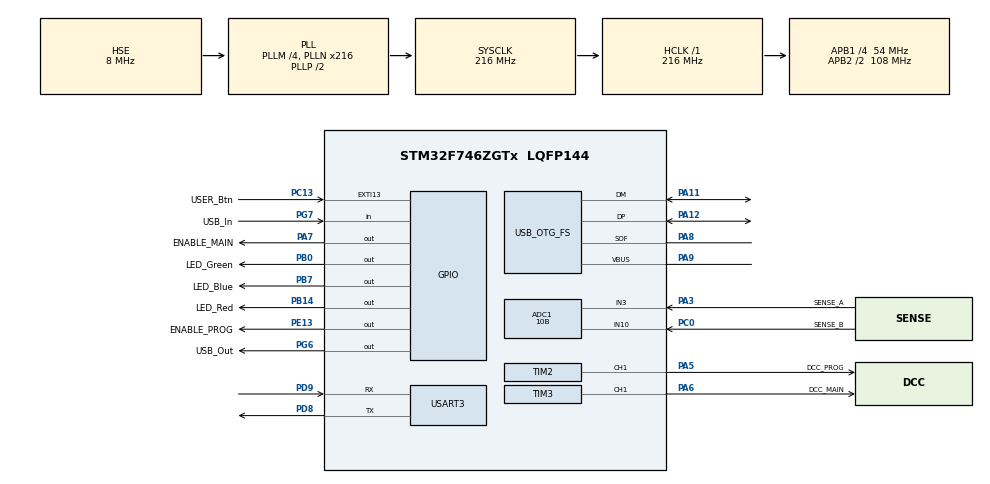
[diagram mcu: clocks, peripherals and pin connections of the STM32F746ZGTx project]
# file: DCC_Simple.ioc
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ADC1.Channel-0\#ChannelRegularConversion=ADC_CHANNEL_3
ADC1.Channel-1\#ChannelRegularConversion=ADC_CHANNEL_10
ADC1.ClockPrescaler=ADC_CLOCK_SYNC_PCLK_DIV8
ADC1.ContinuousConvMode=ENABLE
ADC1.DMAContinuousRequests=ENABLE
ADC1.EOCSelection=ADC_EOC_SEQ_CONV
ADC1.ExternalTrigConv=ADC_SOFTWARE_START
ADC1.ExternalTrigConvEdge=ADC_EXTERNALTRIGCONVEDGE_NONE
ADC1.NbrOfConversion=2
ADC1.NbrOfConversionFlag=1
ADC1.Rank-0\#ChannelRegularConversion=1
ADC1.Rank-1\#ChannelRegularConversion=2
ADC1.Resolution=ADC_RESOLUTION_10B
ADC1.SamplingTime-0\#ChannelRegularConversion=ADC_SAMPLETIME_56CYCLES
ADC1.SamplingTime-1\#ChannelRegularConversion=ADC_SAMPLETIME_56CYCLES
ADC1.master=1
CORTEX_M7.CPU_DCache=Disabled
CORTEX_M7.CPU_ICache=Disabled
Dma.ADC1.2.Direction=DMA_PERIPH_TO_MEMORY
Dma.ADC1.2.FIFOMode=DMA_FIFOMODE_DISABLE
Dma.ADC1.2.Instance=DMA2_Stream0
Dma.ADC1.2.MemDataAlignment=DMA_MDATAALIGN_HALFWORD
Dma.ADC1.2.MemInc=DMA_MINC_ENABLE
Dma.ADC1.2.Mode=DMA_CIRCULAR
Dma.ADC1.2.PeriphDataAlignment=DMA_PDATAALIGN_HALFWORD
Dma.ADC1.2.PeriphInc=DMA_PINC_DISABLE
Dma.ADC1.2.Priority=DMA_PRIORITY_LOW
Dma.Request0=USART3_RX
Dma.Request1=USART3_TX
Dma.Request2=ADC1
Dma.USART3_RX.0.Direction=DMA_PERIPH_TO_MEMORY
Dma.USART3_RX.0.FIFOMode=DMA_FIFOMODE_DISABLE
Dma.USART3_RX.0.Instance=DMA1_Stream1
Dma.USART3_RX.0.MemDataAlignment=DMA_MDATAALIGN_BYTE
Dma.USART3_RX.0.MemInc=DMA_MINC_ENABLE
Dma.USART3_RX.0.Mode=DMA_NORMAL
Dma.USART3_RX.0.PeriphDataAlignment=DMA_PDATAALIGN_BYTE
Dma.USART3_RX.0.PeriphInc=DMA_PINC_DISABLE
Dma.USART3_RX.0.Priority=DMA_PRIORITY_LOW
Dma.USART3_TX.1.Direction=DMA_MEMORY_TO_PERIPH
Dma.USART3_TX.1.FIFOMode=DMA_FIFOMODE_DISABLE
Dma.USART3_TX.1.Instance=DMA1_Stream3
Dma.USART3_TX.1.MemDataAlignment=DMA_MDATAALIGN_BYTE
Dma.USART3_TX.1.MemInc=DMA_MINC_ENABLE
Dma.USART3_TX.1.Mode=DMA_NORMAL
Dma.USART3_TX.1.PeriphDataAlignment=DMA_PDATAALIGN_BYTE
Dma.USART3_TX.1.PeriphInc=DMA_PINC_DISABLE
Dma.USART3_TX.1.Priority=DMA_PRIORITY_LOW
FREERTOS.INCLUDE_uxTaskGetStackHighWaterMark=1
FREERTOS.Queues01=dccMainPacketQueue,25,DCC_Packet *,0,Dynamic,NULL,NULL;commandQueue,72,char *,0,Dynamic,NULL,NULL;dccProgPacketQueue,3,DCC_Packet *,0,Dynamic,NULL,NULL;dccDiscardQueue,3,DCC_Packet *,0,Dynamic,NULL,NULL
FREERTOS.Tasks01=defaultTask,24,128,StartDefaultTask,Default,NULL,Dynamic,NULL,NULL;dccTask,40,128,StartDccTask,Default,NULL,Dynamic,NULL,NULL;commandTask,8,256,StartCommandTask,Default,NULL,Dynamic,NULL,NULL
FREERTOS.configCHECK_FOR_STACK_OVERFLOW=0
FREERTOS.configENABLE_BACKWARD_COMPATIBILITY=0
FREERTOS.configGENERATE_RUN_TIME_STATS=1
FREERTOS.configUSE_MALLOC_FAILED_HOOK=0
FREERTOS.configUSE_STATS_FORMATTING_FUNCTIONS=1
FREERTOS.configUSE_TRACE_FACILITY=1
Mcu.Family=STM32F7
Mcu.Name=STM32F746ZGTx
Mcu.Package=LQFP144
Mcu.UserConstants=DCC_ZERO_ARR,43200;DCC_ZERO_CCR,21600;DCC_ONE_ARR,25058;DCC_ONE_CCR,12529;DCC_QUEUE_LEN,20
NVIC.DMA1_Stream1_IRQn=true\:5\:0\:false\:false\:true\:true\:false\:true\:true
NVIC.DMA1_Stream3_IRQn=true\:5\:0\:false\:false\:true\:true\:false\:true\:true
NVIC.DMA2_Stream0_IRQn=true\:5\:0\:false\:false\:true\:true\:false\:true\:true
NVIC.EXTI15_10_IRQn=true\:10\:0\:true\:false\:true\:true\:true\:true\:true
NVIC.PriorityGroup=NVIC_PRIORITYGROUP_4
NVIC.TIM2_IRQn=true\:5\:0\:false\:false\:true\:true\:true\:true\:true
NVIC.TIM3_IRQn=true\:5\:0\:false\:false\:true\:true\:true\:true\:true
NVIC.TIM6_DAC_IRQn=true\:8\:0\:true\:false\:true\:true\:true\:true\:true
NVIC.TIM7_IRQn=true\:0\:0\:false\:false\:true\:false\:false\:true\:true
NVIC.TimeBase=TIM7_IRQn
NVIC.TimeBaseIP=TIM7
NVIC.USART3_IRQn=true\:10\:0\:true\:false\:true\:true\:true\:true\:true
PA1.GPIO_Mode=GPIO_MODE_AF_PP
PA1.GPIO_PuPd=GPIO_NOPULL
PA1.GPIO_Speed=GPIO_SPEED_FREQ_VERY_HIGH
PA1.Signal=ETH_REF_CLK
PA10.GPIO_Mode=GPIO_MODE_AF_PP
PA10.GPIO_PuPd=GPIO_NOPULL
PA10.GPIO_Speed=GPIO_SPEED_FREQ_VERY_HIGH
PA10.Signal=USB_OTG_FS_ID
PA11.GPIO_Mode=GPIO_MODE_AF_PP
PA11.GPIO_PuPd=GPIO_NOPULL
PA11.GPIO_Speed=GPIO_SPEED_FREQ_VERY_HIGH
PA11.Mode=Device_Only
PA11.Signal=USB_OTG_FS_DM
PA12.GPIO_Mode=GPIO_MODE_AF_PP
PA12.GPIO_PuPd=GPIO_NOPULL
PA12.GPIO_Speed=GPIO_SPEED_FREQ_VERY_HIGH
PA12.Mode=Device_Only
PA12.Signal=USB_OTG_FS_DP
PA13.Mode=Serial_Wire
PA13.Signal=SYS_JTMS-SWDIO
PA14.Mode=Serial_Wire
PA14.Signal=SYS_JTCK-SWCLK
PA2.GPIO_Mode=GPIO_MODE_AF_PP
PA2.GPIO_PuPd=GPIO_NOPULL
PA2.GPIO_Speed=GPIO_SPEED_FREQ_VERY_HIGH
PA2.Signal=ETH_MDIO
PA3.GPIO_Label=SENSE_A
PA3.Signal=ADCx_IN3
PA5.GPIO_Label=DCC_PROG
PA5.GPIO_Speed=GPIO_SPEED_FREQ_VERY_HIGH
PA5.Signal=S_TIM2_CH1_ETR
PA6.GPIO_Label=DCC_MAIN
PA6.GPIO_Speed=GPIO_SPEED_FREQ_VERY_HIGH
PA6.Signal=S_TIM3_CH1
PA7.GPIO_Label=ENABLE_MAIN
PA7.Signal=GPIO_Output
PA8.GPIO_Mode=GPIO_MODE_AF_PP
PA8.GPIO_PuPd=GPIO_NOPULL
PA8.GPIO_Speed=GPIO_SPEED_FREQ_VERY_HIGH
PA8.Mode=Activate_SOF_FS
PA8.Signal=USB_OTG_FS_SOF
PA9.GPIO_Mode=GPIO_MODE_INPUT
PA9.GPIO_PuPd=GPIO_NOPULL
PA9.Mode=Activate_VBUS
PA9.Signal=USB_OTG_FS_VBUS
PB0.GPIO_Label=LED_Green
PB0.GPIO_ModeDefaultOutputPP=GPIO_MODE_OUTPUT_PP
PB0.GPIO_PuPd=GPIO_NOPULL
PB0.GPIO_Speed=GPIO_SPEED_FREQ_LOW
PB0.PinState=GPIO_PIN_RESET
PB0.Signal=GPIO_Output
PB13.GPIO_Mode=GPIO_MODE_AF_PP
PB13.GPIO_PuPd=GPIO_NOPULL
PB13.GPIO_Speed=GPIO_SPEED_FREQ_VERY_HIGH
PB13.Signal=ETH_TXD1
PB14.GPIO_Label=LED_Red
PB14.GPIO_ModeDefaultOutputPP=GPIO_MODE_OUTPUT_PP
PB14.GPIO_PuPd=GPIO_NOPULL
PB14.GPIO_Speed=GPIO_SPEED_FREQ_LOW
PB14.PinState=GPIO_PIN_RESET
PB14.Signal=GPIO_Output
PB3.Signal=SYS_JTDO-SWO
PB7.GPIO_Label=LED_Blue
PB7.GPIO_ModeDefaultOutputPP=GPIO_MODE_OUTPUT_PP
PB7.GPIO_PuPd=GPIO_NOPULL
PB7.GPIO_Speed=GPIO_SPEED_FREQ_LOW
PB7.PinState=GPIO_PIN_RESET
PB7.Signal=GPIO_Output
PC0.GPIO_Label=SENSE_B
PC0.Signal=ADCx_IN10
PC1.GPIO_Mode=GPIO_MODE_AF_PP
PC1.GPIO_PuPd=GPIO_NOPULL
PC1.GPIO_Speed=GPIO_SPEED_FREQ_VERY_HIGH
PC1.Signal=ETH_MDC
PC13.GPIO_Label=USER_Btn
PC13.GPIO_ModeDefaultEXTI=GPIO_MODE_IT_FALLING
PC13.GPIO_PuPd=GPIO_NOPULL
PC13.Signal=GPXTI13
PC14/OSC32_IN.Mode=LSE-External-Oscillator
PC14/OSC32_IN.Signal=RCC_OSC32_IN
PC15/OSC32_OUT.Mode=LSE-External-Oscillator
PC15/OSC32_OUT.Signal=RCC_OSC32_OUT
PC4.GPIO_Mode=GPIO_MODE_AF_PP
PC4.GPIO_PuPd=GPIO_NOPULL
PC4.GPIO_Speed=GPIO_SPEED_FREQ_VERY_HIGH
PC4.Signal=ETH_RXD0
PC5.GPIO_Mode=GPIO_MODE_AF_PP
PC5.GPIO_PuPd=GPIO_NOPULL
PC5.GPIO_Speed=GPIO_SPEED_FREQ_VERY_HIGH
PC5.Signal=ETH_RXD1
PD8.GPIO_ModeDefaultPP=GPIO_MODE_AF_PP
PD8.GPIO_PuPd=GPIO_NOPULL
PD8.GPIO_Speed=GPIO_SPEED_FREQ_VERY_HIGH
PD8.Mode=Asynchronous
PD8.Signal=USART3_TX
PD9.GPIO_ModeDefaultPP=GPIO_MODE_AF_PP
PD9.GPIO_PuPd=GPIO_NOPULL
PD9.GPIO_Speed=GPIO_SPEED_FREQ_VERY_HIGH
PD9.Mode=Asynchronous
PD9.Signal=USART3_RX
PE13.GPIO_Label=ENABLE_PROG
PE13.Signal=GPIO_Output
PG11.GPIO_Mode=GPIO_MODE_AF_PP
PG11.GPIO_PuPd=GPIO_NOPULL
PG11.GPIO_Speed=GPIO_SPEED_FREQ_VERY_HIGH
PG11.Signal=ETH_TX_EN
PG13.GPIO_Mode=GPIO_MODE_AF_PP
PG13.GPIO_PuPd=GPIO_NOPULL
PG13.GPIO_Speed=GPIO_SPEED_FREQ_VERY_HIGH
PG13.Signal=ETH_TXD0
PG6.GPIO_Label=USB_Out
PG6.GPIO_ModeDefaultOutputPP=GPIO_MODE_OUTPUT_PP
PG6.GPIO_PuPd=GPIO_NOPULL
PG6.GPIO_Speed=GPIO_SPEED_FREQ_LOW
PG6.PinState=GPIO_PIN_RESET
PG6.Signal=GPIO_Output
PG7.GPIO_Label=USB_In
PG7.GPIO_Mode=GPIO_MODE_INPUT
PG7.GPIO_PuPd=GPIO_NOPULL
PG7.Signal=GPIO_Input
PH0/OSC_IN.Mode=HSE-External-Clock-Source
PH0/OSC_IN.Signal=RCC_OSC_IN
PH1/OSC_OUT.Mode=HSE-External-Clock-Source
PH1/OSC_OUT.Signal=RCC_OSC_OUT
ProjectManager.HeapSize=0x200
ProjectManager.StackSize=0x400
ProjectManager.TargetToolchain=STM32CubeIDE
RCC.48MHZClocksFreq_Value=24000000
RCC.AHBFreq_Value=216000000
RCC.APB1CLKDivider=RCC_HCLK_DIV4
RCC.APB1Freq_Value=54000000
RCC.APB1TimFreq_Value=216000000
RCC.APB2CLKDivider=RCC_HCLK_DIV2
RCC.APB2Freq_Value=108000000
RCC.APB2TimFreq_Value=216000000
RCC.CortexFreq_Value=216000000
RCC.HCLKFreq_Value=216000000
RCC.HSE_VALUE=8000000
RCC.HSI_VALUE=16000000
RCC.PLLM=4
RCC.PLLMUL=RCC_PLL_MUL9
RCC.PLLN=216
RCC.PLLQ=9
RCC.PRESCALERUSB=RCC_USBCLKSOURCE_PLL_DIV1_5
RCC.RCC_TIM_PRescaler_Selection=RCC_TIMPRES_ACTIVATED
RCC.SYSCLKFreq_VALUE=216000000
RCC.SYSCLKSource=RCC_SYSCLKSOURCE_PLLCLK
RCC.SYSCLKSourceVirtual=RCC_SYSCLKSOURCE_PLLCLK
RCC.USBFreq_Value=48000000
RCC.VCOOutputFreq_Value=432000000
SH.ADCx_IN10.0=ADC1_IN10,IN10
SH.ADCx_IN3.0=ADC1_IN3,IN3
SH.S_TIM2_CH1_ETR.0=TIM2_CH1,PWM Generation1 CH1
SH.S_TIM3_CH1.0=TIM3_CH1,PWM Generation1 CH1
TIM2.AutoReloadPreload=TIM_AUTORELOAD_PRELOAD_ENABLE
TIM2.Channel-PWM\ Generation1\ CH1=TIM_CHANNEL_1
TIM2.Period=DCC_ONE_ARR
TIM2.Pulse-PWM\ Generation1\ CH1=DCC_ONE_CCR
TIM2.TIM_MasterOutputTrigger=TIM_TRGO_OC1
TIM3.AutoReloadPreload=TIM_AUTORELOAD_PRELOAD_ENABLE
TIM3.Channel-PWM\ Generation1\ CH1=TIM_CHANNEL_1
TIM3.Period=DCC_ONE_ARR
TIM3.Pulse-PWM\ Generation1\ CH1=DCC_ONE_CCR
TIM3.TIM_MasterOutputTrigger=TIM_TRGO_OC1
TIM6.AutoReloadPreload=TIM_AUTORELOAD_PRELOAD_ENABLE
TIM6.Period=65535
TIM6.Prescaler=164
USART3.VirtualMode-Asynchronous=VM_ASYNC
USB_OTG_FS.VirtualMode=Device_Only
VP_ADC1_TempSens_Input.Mode=IN-TempSens
VP_FREERTOS_VS_CMSIS_V2.Mode=CMSIS_V2
VP_RNG_VS_RNG.Mode=RNG_Activate
VP_SYS_VS_tim7.Mode=TIM7
VP_TIM2_VS_ClockSourceINT.Mode=Internal
VP_TIM3_VS_ClockSourceINT.Mode=Internal
VP_TIM6_VS_ClockSourceINT.Mode=Enable_Timer
board=NUCLEO-F746ZG

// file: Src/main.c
/* USER CODE BEGIN Header */
/**
  ******************************************************************************
  * @file           : main.c
  * @brief          : Main program body
  ******************************************************************************
  * @attention
  *
  * <h2><center>&copy; Copyright (c) 2020 STMicroelectronics.
  * All rights reserved.</center></h2>
  *
  * This software component is licensed by ST under BSD 3-Clause license,
  * the "License"; You may not use this file except in compliance with the
  * License. You may obtain a copy of the License at:
  *                        opensource.org/licenses/BSD-3-Clause
  *
  ******************************************************************************
  */
/* USER CODE END Header */

#include "main.h"
#include "cmsis_os.h"
#include "adc.h"
#include "dma.h"
#include "rng.h"
#include "tim.h"
#include "usart.h"
#include "usb_otg.h"
#include "gpio.h"

/* USER CODE BEGIN Includes */
#include <stdio.h>
#include "dcc.h"
/* USER CODE END Includes */

/* USER CODE BEGIN PV */
extern volatile uint32_t nfirst;
extern volatile uint8_t button_debounce;
extern volatile uint8_t dcc_task_started;
extern DCC_Packet_Pump main_pump;
extern DCC_Packet_Pump prog_pump;
/* USER CODE END PV */

void SystemClock_Config(void);
void MX_FREERTOS_Init(void);

/* USER CODE BEGIN 0 */

#if 0
#ifdef __GNUC__
/* With GCC/RAISONANCE, small printf (option LD Linker->Libraries->Small printf
 set to 'Yes') calls __io_putchar() */
#define PUTCHAR_PROTOTYPE int __io_putchar(int ch)
#else
#define PUTCHAR_PROTOTYPE int fputc(int ch, FILE *f)
#endif /* __GNUC__ */
#endif

/* USER CODE END 0 */

int main(void)
{

  /* MCU Configuration--------------------------------------------------------*/

  /* Reset of all peripherals, Initializes the Flash interface and the Systick. */
  HAL_Init();

  /* Configure the system clock */
  SystemClock_Config();

  /* Initialize all configured peripherals */
  MX_GPIO_Init();
  MX_DMA_Init();
  MX_USART3_UART_Init();
  MX_USB_OTG_FS_PCD_Init();
  MX_RNG_Init();
  MX_TIM6_Init();
  MX_ADC1_Init();
  MX_TIM2_Init();
  MX_TIM3_Init();
  /* USER CODE BEGIN 2 */
  // Disable output
  HAL_GPIO_WritePin(ENABLE_MAIN_GPIO_Port, ENABLE_MAIN_Pin, GPIO_PIN_RESET);
  HAL_GPIO_WritePin(ENABLE_PROG_GPIO_Port, ENABLE_PROG_Pin, GPIO_PIN_RESET);
  /* USER CODE END 2 */

  /* Init scheduler */
  osKernelInitialize();  /* Call init function for freertos objects (in freertos.c) */
  MX_FREERTOS_Init();
  /* Start scheduler */
  osKernelStart();

  /* We should never get here as control is now taken by the scheduler */
  /* Infinite loop */
  /* USER CODE BEGIN WHILE */
  while (1)
  {}
    /* USER CODE END WHILE */

}

void SystemClock_Config(void)
{
  RCC_OscInitTypeDef RCC_OscInitStruct = {0};
  RCC_ClkInitTypeDef RCC_ClkInitStruct = {0};
  RCC_PeriphCLKInitTypeDef PeriphClkInitStruct = {0};

  /** Configure LSE Drive Capability
  */
  HAL_PWR_EnableBkUpAccess();
  /** Configure the main internal regulator output voltage
  */
  __HAL_RCC_PWR_CLK_ENABLE();
  __HAL_PWR_VOLTAGESCALING_CONFIG(PWR_REGULATOR_VOLTAGE_SCALE1);
  /** Initializes the CPU, AHB and APB busses clocks
  */
  RCC_OscInitStruct.OscillatorType = RCC_OSCILLATORTYPE_HSE;
  RCC_OscInitStruct.HSEState = RCC_HSE_BYPASS;
  RCC_OscInitStruct.PLL.PLLState = RCC_PLL_ON;
  RCC_OscInitStruct.PLL.PLLSource = RCC_PLLSOURCE_HSE;
  RCC_OscInitStruct.PLL.PLLM = 4;
  RCC_OscInitStruct.PLL.PLLN = 216;
  RCC_OscInitStruct.PLL.PLLP = RCC_PLLP_DIV2;
  RCC_OscInitStruct.PLL.PLLQ = 9;
  if (HAL_RCC_OscConfig(&RCC_OscInitStruct) != HAL_OK)
  {
    Error_Handler();
  }
  /** Activate the Over-Drive mode
  */
  if (HAL_PWREx_EnableOverDrive() != HAL_OK)
  {
    Error_Handler();
  }
  /** Initializes the CPU, AHB and APB busses clocks
  */
  RCC_ClkInitStruct.ClockType = RCC_CLOCKTYPE_HCLK|RCC_CLOCKTYPE_SYSCLK
                              |RCC_CLOCKTYPE_PCLK1|RCC_CLOCKTYPE_PCLK2;
  RCC_ClkInitStruct.SYSCLKSource = RCC_SYSCLKSOURCE_PLLCLK;
  RCC_ClkInitStruct.AHBCLKDivider = RCC_SYSCLK_DIV1;
  RCC_ClkInitStruct.APB1CLKDivider = RCC_HCLK_DIV4;
  RCC_ClkInitStruct.APB2CLKDivider = RCC_HCLK_DIV2;

  if (HAL_RCC_ClockConfig(&RCC_ClkInitStruct, FLASH_LATENCY_7) != HAL_OK)
  {
    Error_Handler();
  }
  PeriphClkInitStruct.PeriphClockSelection = RCC_PERIPHCLK_TIM|RCC_PERIPHCLK_USART3
                              |RCC_PERIPHCLK_CLK48;
  PeriphClkInitStruct.Usart3ClockSelection = RCC_USART3CLKSOURCE_PCLK1;
  PeriphClkInitStruct.Clk48ClockSelection = RCC_CLK48SOURCE_PLL;
  PeriphClkInitStruct.TIMPresSelection = RCC_TIMPRES_ACTIVATED;

  if (HAL_RCCEx_PeriphCLKConfig(&PeriphClkInitStruct) != HAL_OK)
  {
    Error_Handler();
  }
}

/* USER CODE BEGIN 4 */
void vAssertCalled( uint32_t ulLine, const char *pcFile )
{
volatile unsigned long ul = 0;

        ( void ) pcFile;
        ( void ) ulLine;

        taskENTER_CRITICAL();
        {
                /* Set ul to a non-zero value using the debugger to step out of this
                function. */
                while( ul == 0 )
                {
                        __NOP();
                }
        }
        taskEXIT_CRITICAL();
}
/* USER CODE END 4 */

 /**
  * @brief  Period elapsed callback in non blocking mode
  * @note   This function is called  when TIM7 interrupt took place, inside
  * HAL_TIM_IRQHandler(). It makes a direct call to HAL_IncTick() to increment
  * a global variable "uwTick" used as application time base.
  * @param  htim : TIM handle
  * @retval None
  */
void HAL_TIM_PeriodElapsedCallback(TIM_HandleTypeDef *htim)
{
  if (htim->Instance == TIM7) {
    HAL_IncTick();
  }
  /* USER CODE BEGIN Callback 1 */
  else if(htim->Instance == TIM6)
  {
	  if(HAL_GPIO_ReadPin(USER_Btn_GPIO_Port, USER_Btn_Pin) == GPIO_PIN_RESET)
	  {
		  HAL_TIM_Base_Stop_IT(&htim6);
		  HAL_GPIO_WritePin(LED_Red_GPIO_Port, LED_Red_Pin, GPIO_PIN_RESET);
		  button_debounce = 1;
		  nfirst = 1050;
	  }
  }

/*
  char bit = '0';
  char nl[] = "0\n\n";
  uint32_t arr;
  if ((htim->Instance == DCC_TIMER_MAIN_INSTANCE) && (nfirst >0) && dcc_task_started) {
	  arr = DCC_TIMER_MAIN_INSTANCE->ARR;
	  nfirst--;
	  if(DCC_ZERO_ARR == arr) {
		  bit = '0';
	  }
	  else if(DCC_ONE_ARR == arr) {
		  bit = '1';
	  }
	  else {
		  bit = '*';
	  }
	  switch(main_pump.status)
	  {
	  case DCC_PACKET_PREAMBLE:
		  if(main_pump.bit == 0) {
			  nl[0] = '-';
			  nl[1] = bit;
			  nl[2] = '\n';
			  HAL_UART_Transmit_DMA(&huart3, nl, 3);
		  }
		  else {
			  HAL_UART_Transmit_DMA(&huart3, &bit, 1);
		  }
		  break;
	  case DCC_PACKET_ADDRESS:
	  case DCC_PACKET_ADDRESS_LOW:
	  case DCC_PACKET_DATA:
	  case DCC_PACKET_CRC:
		  if(main_pump.bit == 0) {
			  nl[0] = '-';
			  nl[1] = bit;
			  nl[2] = '-';
			  HAL_UART_Transmit_DMA(&huart3, nl, 3);
		  }
		  else{
			  HAL_UART_Transmit_DMA(&huart3, &bit, 1);
		  }
		  break;
	  default:
		  HAL_UART_Transmit_DMA(&huart3, &bit, 1);
		  break;
	  }
  }
*/
  /* USER CODE END Callback 1 */
}

void Error_Handler(void)
{
}

#ifdef  USE_FULL_ASSERT
/**
  * @brief  Reports the name of the source file and the source line number
  *         where the assert_param error has occurred.
  * @param  file: pointer to the source file name
  * @param  line: assert_param error line source number
  * @retval None
  */
void assert_failed(uint8_t *file, uint32_t line)
{
  /* USER CODE BEGIN 6 */
  /* User can add his own implementation to report the file name and line number,
     tex: printf("Wrong parameters value: file %s on line %d\r\n", file, line) */
	//osMutexWait(dccFailMutexHandle, osWaitForever);
	 //printf("Wrong parameters value: file %s on line %lu\r\n", file, line);
	 //for(;;) {
		 //HAL_GPIO_TogglePin(LED_Red_GPIO_Port, LED_Red_Pin);
		 //osDelay(250);
	 //}
  /* USER CODE END 6 */
}
#endif /* USE_FULL_ASSERT */

/************************ (C) COPYRIGHT STMicroelectronics *****END OF FILE****/

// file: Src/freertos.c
/* USER CODE BEGIN Header */
/**
 ******************************************************************************
 * File Name          : freertos.c
 * Description        : Code for freertos applications
 ******************************************************************************
 * @attention
 *
 * <h2><center>&copy; Copyright (c) 2020 STMicroelectronics.
 * All rights reserved.</center></h2>
 *
 * This software component is licensed by ST under Ultimate Liberty license
 * SLA0044, the "License"; You may not use this file except in compliance with
 * the License. You may obtain a copy of the License at:
 *                             www.st.com/SLA0044
 *
 ******************************************************************************
 */
/* USER CODE END Header */

#include "FreeRTOS.h"
#include "task.h"
#include "main.h"
#include "cmsis_os.h"

/* USER CODE BEGIN Includes */
#include "adc.h"
#include "tim.h"
#include "usart.h"
#include "dcc.h"
#include "string.h"
#include "printf-stdarg.h"
#include "FreeRTOS_CLI.h"
#include "cli.h"
/* USER CODE END Includes */

/* USER CODE BEGIN PM */
#if MOTOR_SHIELD_TYPE == MOTOR_SHIELD_TYPE_IHM041
#define SETUP_TIMER(track) \
		HAL_TIM_PWM_Start(&DCC_TIMER_##track , DCC_TIMER_ ##track## _CHANNEL_L);  /* PWM on Channel L */ \
		HAL_TIM_PWM_Start(&DCC_TIMER_ ##track , DCC_TIMER_ ##track## _CHANNEL_K); /* PWM on Channel K */ \
	    DCC_TIMER_ ##track## _INSTANCE->CR1 &= ~TIM_CR1_CEN; /* Stop Counter */ \
	    DCC_TIMER_ ##track## _INSTANCE->ARR = DCC_ZERO_ARR; /* Preload values */ \
	    DCC_TIMER_ ##track## _CCR_K = DCC_ZERO_CCR; \
	    DCC_TIMER_ ##track## _CCR_L = DCC_ZERO_CCR; \
	    DCC_TIMER_ ##track## _INSTANCE->EGR &= TIM_EGR_UG; /* Trigger update (preload loaded) */ \
	    DCC_TIMER_ ##track## _INSTANCE->EGR &= TIM_EGR_UG; \
	    DCC_TIMER_ ##track## _INSTANCE->SR = 0ul; /* Clear all Interrupts */ \
	    DCC_TIMER_ ##track## _INSTANCE->DIER = TIM_DIER_CC1IE; /* Enable conmutation Interrupt ONLY */ \
	    DCC_TIMER_ ##track## _INSTANCE->CR1 |= TIM_CR1_CEN; /* Enable timer */
#elif MOTOR_SHIELD_TYPE == MOTOR_SHIELD_TYPE_ARDUINO_V3
#define SETUP_TIMER(track) \
		HAL_TIM_PWM_Start(&DCC_TIMER_ ##track , DCC_TIMER_ ##track## _CHANNEL_K); /* PWM on Channel K */ \
	    DCC_TIMER_ ##track## _INSTANCE->CR1 &= ~TIM_CR1_CEN; /* Stop Counter */ \
	    DCC_TIMER_ ##track## _INSTANCE->ARR = DCC_ZERO_ARR; /* Preload values */ \
	    DCC_TIMER_ ##track## _CCR_K = DCC_ZERO_CCR; \
	    DCC_TIMER_ ##track## _INSTANCE->EGR &= TIM_EGR_UG; /* Trigger update (preload loaded) */ \
	    DCC_TIMER_ ##track## _INSTANCE->EGR &= TIM_EGR_UG; \
	    DCC_TIMER_ ##track## _INSTANCE->SR = 0ul; /* Clear all Interrupts */ \
	    DCC_TIMER_ ##track## _INSTANCE->DIER = TIM_DIER_CC1IE; /* Enable conmutation Interrupt ONLY */ \
	    DCC_TIMER_ ##track## _INSTANCE->CR1 |= TIM_CR1_CEN; /* Enable timer */
#endif
/* USER CODE END PM */

/* USER CODE BEGIN Variables */
volatile uint32_t nfirst = 1050;
volatile uint8_t button_debounce = 1;
volatile uint8_t dcc_task_started = 0;
DCC_Packet_Pump main_pump;
DCC_Packet_Pump prog_pump;

//volatile uint32_t tim1_last_cnt;
//volatile uint32_t tim1_last_arr;

/* USER CODE END Variables */
/* Definitions for defaultTask */
osThreadId_t defaultTaskHandle;
const osThreadAttr_t defaultTask_attributes = {
  .name = "defaultTask",
  .priority = (osPriority_t) osPriorityNormal,
  .stack_size = 128 * 4
};
/* Definitions for dccTask */
osThreadId_t dccTaskHandle;
const osThreadAttr_t dccTask_attributes = {
  .name = "dccTask",
  .priority = (osPriority_t) osPriorityHigh,
  .stack_size = 128 * 4
};
/* Definitions for commandTask */
osThreadId_t commandTaskHandle;
const osThreadAttr_t commandTask_attributes = {
  .name = "commandTask",
  .priority = (osPriority_t) osPriorityLow,
  .stack_size = 256 * 4
};
/* Definitions for dccMainPacketQueue */
osMessageQueueId_t dccMainPacketQueueHandle;
const osMessageQueueAttr_t dccMainPacketQueue_attributes = {
  .name = "dccMainPacketQueue"
};
/* Definitions for commandQueue */
osMessageQueueId_t commandQueueHandle;
const osMessageQueueAttr_t commandQueue_attributes = {
  .name = "commandQueue"
};
/* Definitions for dccProgPacketQueue */
osMessageQueueId_t dccProgPacketQueueHandle;
const osMessageQueueAttr_t dccProgPacketQueue_attributes = {
  .name = "dccProgPacketQueue"
};
/* Definitions for dccDiscardQueue */
osMessageQueueId_t dccDiscardQueueHandle;
const osMessageQueueAttr_t dccDiscardQueue_attributes = {
  .name = "dccDiscardQueue"
};

/* USER CODE BEGIN FunctionPrototypes */
void vEnableUART(UART_HandleTypeDef *huart);
void vUpdateADCValue();
/* USER CODE END FunctionPrototypes */

void StartDefaultTask(void *argument);
void StartDccTask(void *argument);
void StartCommandTask(void *argument);

void MX_FREERTOS_Init(void); /* (MISRA C 2004 rule 8.1) */

/* Hook prototypes */
void configureTimerForRunTimeStats(void);
unsigned long getRunTimeCounterValue(void);

/* USER CODE BEGIN 1 */
/* Functions needed when configGENERATE_RUN_TIME_STATS is on */
__weak void configureTimerForRunTimeStats(void) {

}

__weak unsigned long getRunTimeCounterValue(void) {
	return 0;
}
/* USER CODE END 1 */

void MX_FREERTOS_Init(void) {

  /* Create the queue(s) */
  /* creation of dccMainPacketQueue */
  dccMainPacketQueueHandle = osMessageQueueNew (25, sizeof(DCC_Packet *), &dccMainPacketQueue_attributes);

  /* creation of commandQueue */
  commandQueueHandle = osMessageQueueNew (72, sizeof(char *), &commandQueue_attributes);

  /* creation of dccProgPacketQueue */
  dccProgPacketQueueHandle = osMessageQueueNew (3, sizeof(DCC_Packet *), &dccProgPacketQueue_attributes);

  /* creation of dccDiscardQueue */
  dccDiscardQueueHandle = osMessageQueueNew (3, sizeof(DCC_Packet *), &dccDiscardQueue_attributes);

  /* Create the thread(s) */
  /* creation of defaultTask */
  defaultTaskHandle = osThreadNew(StartDefaultTask, NULL, &defaultTask_attributes);

  /* creation of dccTask */
  dccTaskHandle = osThreadNew(StartDccTask, NULL, &dccTask_attributes);

  /* creation of commandTask */
  commandTaskHandle = osThreadNew(StartCommandTask, NULL, &commandTask_attributes);

}

void StartDefaultTask(void *argument)
{
  /* USER CODE BEGIN StartDefaultTask */
	// char  pcWriteBuffer[128];
	// DCC_Packet *current;
	// DCC_Packet Idle = DCC_PACKET_IDLE;
	// DCC_Packet Loco_3 = {1, -1, 0x03, {0x00, 0x00, 0x00, 0x00, 0x00}, 0x00};
	// DCC_Packet_set_speed(&Loco_3, 55, 1);
	// osMessageQueuePut(dccPAcketQueueHandle, &Idle, 0U, osWaitForever);
	// osMessageQueuePut(dccPAcketQueueHandle, &Loco_3, 0U, osWaitForever);
	//printf("Starting Default Task.\n");

	/* Infinite loop */
	for (;;) {
		osDelay(1000);
		HAL_GPIO_WritePin(LED_Red_GPIO_Port, LED_Red_Pin, GPIO_PIN_RESET);
		//		vTaskList(pcWriteBuffer);
		//		printf("\n=============== TASK LIST ==============="
		//				"\nName ========== Stat == Prio == Stk = N ="
		//				"\n%s"
		//				"\n=========================================\n",
		//				pcWriteBuffer);
		// Get the last timer counter and print.
	}
  /* USER CODE END StartDefaultTask */
}

void StartDccTask(void *argument)
{
  /* USER CODE BEGIN StartDccTask */
	osStatus status;
	uint32_t flags;
	DCC_Packet *discardPacket;
	DCC_Packet_Pump_init(&main_pump, dccMainPacketQueueHandle, dccDiscardQueueHandle);
	DCC_Packet_Pump_init(&prog_pump, dccProgPacketQueueHandle, dccDiscardQueueHandle);

	// Disable timer on debug
	__HAL_DBGMCU_FREEZE_TIM2();
	__HAL_DBGMCU_FREEZE_TIM3();
	__HAL_DBGMCU_FREEZE_TIM6();
	__HAL_DBGMCU_FREEZE_TIM7();

	// Setup Timers
	SETUP_TIMER(MAIN);
	SETUP_TIMER(PROG);
	HAL_StatusTypeDef hal_stat = HAL_TIMEOUT;
	while(hal_stat != HAL_OK){
		osDelay(250);
		hal_stat = HAL_ADC_Start_DMA(&hadc1,(uint32_t *) ADC_Data, ADC_DATA_LEN*ADC_DATA_ROWS);
	}
	osDelay(200);
	/* Infinite loop */
	for (;;) {
		status = osMessageQueueGet(dccDiscardQueueHandle, &discardPacket, 0L, 0L);
		if(status == osOK)
			vPortFree(discardPacket);
		flags = osThreadFlagsWait(DCC_FLAGS, osFlagsWaitAny, 250L);
		switch(flags) {
		case DCC_FLAG_ADC_DATA:
			vUpdateADCValue();
			break;
		case DCC_FLAG_ADC_ERROR:
			HAL_GPIO_WritePin(LED_Red_GPIO_Port, LED_Red_Pin, GPIO_PIN_SET);
			do {
				osDelay(250);
				hal_stat = HAL_ADC_Stop_DMA(&hadc1);
			} while(hal_stat != HAL_OK);
			memset((void *) ADC_Data, 0, sizeof(ADC_Record) * ADC_DATA_ROWS);
			do {
				osDelay(250);
				hal_stat = HAL_ADC_Start_DMA(&hadc1,(uint32_t *) ADC_Data, ADC_DATA_LEN*ADC_DATA_ROWS);
			} while(hal_stat != HAL_OK);
			HAL_GPIO_WritePin(LED_Red_GPIO_Port, LED_Red_Pin, GPIO_PIN_RESET);
			break;
		default:
			break;
		}
		HAL_GPIO_TogglePin(LED_Green_GPIO_Port, LED_Green_Pin);
	}
  /* USER CODE END StartDccTask */
}

void StartCommandTask(void *argument)
{
  /* USER CODE BEGIN StartCommandTask */
	static unsigned char cInputString[ configCOMMAND_INT_MAX_OUTPUT_SIZE ], cOutputString[ configCOMMAND_INT_MAX_OUTPUT_SIZE ];
	BaseType_t xMoreDataToFollow;
	uint32_t flags;
	vRegisterCLICommands();
	vEnableUART(&huart3);
	// Save DCC++ Station Name, Motor and Version for Later (see command <s>)
	snprintf(DCCPP_STATION, DCCPP_STATION_MAX_LEN, "<iDCC++ BASE STATION FOR STM32F7 / %s: V-1.2.1+ / %s %s>",
			MOTOR_SHIELD_NAME, __TIME__, __DATE__);
	snprintf((char *) cOutputString, configCOMMAND_INT_MAX_OUTPUT_SIZE,
			"%s\r\n", DCCPP_STATION);
	HAL_UART_Transmit_DMA(&huart3, cOutputString,
			strnlen((char *)cOutputString, configCOMMAND_INT_MAX_OUTPUT_SIZE));

	dcc_task_started = 1u;
	osDelay(200);
	for(;;) {
		/* Pass the string to FreeRTOS+CLI. */
		flags = osThreadFlagsWait(COMMAND_FLAGS, osFlagsWaitAny, 1000);
		if(flags & osFlagsError) {
			if(flags == osFlagsErrorTimeout) {
				continue;
			}
			else {
				HAL_GPIO_WritePin(LED_Red_GPIO_Port, LED_Red_Pin, GPIO_PIN_SET);
				//TODO: Error from CLI
				osDelay(100);
				continue;
			}
		}
		switch(flags) {
		case COMMAND_FLAG_TRANSMIT_OK:
			HAL_GPIO_TogglePin(LED_Blue_GPIO_Port, LED_Blue_Pin);
			memset(cInputString, 0, configCOMMAND_INT_MAX_OUTPUT_SIZE);
			HAL_UART_Receive_DMA(&huart3, cInputString, configCOMMAND_INT_MAX_OUTPUT_SIZE);
			break;
		case COMMAND_FLAG_RECEIVE_OK:
			//HAL_GPIO_TogglePin(LED_Red_GPIO_Port, LED_Red_Pin);
			xMoreDataToFollow = pdTRUE;
			while(xMoreDataToFollow) {
				// Replace the final '>' by an ' ' as we do not care...
				//for(int i=0; (i<configCOMMAND_INT_MAX_OUTPUT_SIZE) && (cInputString[i] != '\0'); i++){
				//	cInputString[i] = (cInputString[i] == 0x3E) ? 0x0D :  cInputString[i];
				//}
				xMoreDataToFollow = FreeRTOS_CLIProcessCommand((char *) cInputString, (char *) cOutputString,
						configCOMMAND_INT_MAX_OUTPUT_SIZE );
				size_t out_len = strnlen((char *) cOutputString,
						configCOMMAND_INT_MAX_OUTPUT_SIZE);
				if(out_len > 0)
				{
					HAL_UART_Transmit_DMA(&huart3, cOutputString, out_len);
					// Wait for transmission complete
					while(!(huart3.Instance->ISR &= USART_ISR_TC)){
						osDelay(10);
					}
				}
				else {
					// Tell MySelf transmit is OK
					osThreadFlagsSet(commandTaskHandle, COMMAND_FLAG_TRANSMIT_OK);
				}
			}
			break;
		case COMMAND_FLAG_ERROR:
			osThreadExit();
			break;
		}
	}
  /* USER CODE END StartCommandTask */
}

/* USER CODE BEGIN Application */
void vUpdateADCValue()
{
	ADC_Value = (ADC_Record) {0u, 0u, 0u};
	for(int i=0; i<ADC_DATA_ROWS; i++)
	{
		ADC_Value.temp += ADC_Data[i].temp;
		ADC_Value.senseA += ADC_Data[i].senseB;
		ADC_Value.senseB += ADC_Data[i].senseB;
	}
	ADC_Value.temp /= ADC_DATA_ROWS;
	ADC_Value.senseA /= ADC_DATA_ROWS;
	ADC_Value.senseB /= ADC_DATA_ROWS;
}

void vEnableUART(UART_HandleTypeDef *huart)
{
	if(huart->Instance == USART3) {
		  int32_t state = osKernelLock();
		  // Disable USART.
		  huart->Instance->CR1 &= ~USART_CR1_UE;
		  // huart->Instance->CR1 &= ~USART_CR1_TE;
		  // huart->Instance->CR1 &= ~USART_CR1_RE;
		  // Set end-of-line detection
		  huart->Instance->CR2 |= (USART_CR2_ADD & (COMMAND_END_OF_LINE << USART_CR2_ADD_Pos)) | USART_CR2_ADDM7;
		  // Clear All IF Flags
		  huart->Instance->ICR |= USART_ICR_CLEAR_ALL;
		  // Enable CMF Interrupt
		  huart->Instance->CR1 |= USART_CR1_CMIE;
		  // Reenable USART
		  huart->Instance->CR1 |= USART_CR1_UE;
		  osKernelRestoreLock(state);
	}
}

void HAL_TIM_PWM_PulseFinishedCallback(TIM_HandleTypeDef *htim) {

	if (htim->Instance == DCC_TIMER_MAIN_INSTANCE) {
		if (htim->Channel == DCC_TIMER_MAIN_ACTIVE_CHANNEL_K) {
			if (DCC_Packet_Pump_next(&main_pump) == DCC_ZERO) {
				DCC_TIMER_MAIN_INSTANCE->ARR  = DCC_ZERO_ARR;
				DCC_TIMER_MAIN_CCR_K = DCC_ZERO_CCR;
#ifdef DCC_TIMER_MAIN_CCR_L
				DCC_TIMER_MAIN_CCR_L = DCC_ZERO_CCR;
#endif
			} else {
				DCC_TIMER_MAIN_INSTANCE->ARR  = DCC_ONE_ARR;
				DCC_TIMER_MAIN_CCR_K = DCC_ONE_CCR;

#ifdef DCC_TIMER_MAIN_CCR_L
				DCC_TIMER_MAIN_CCR_L = DCC_ONE_CCR;
#endif
			}
		}
	}
	else if (htim->Instance == DCC_TIMER_PROG_INSTANCE) {
		if (htim->Channel == DCC_TIMER_PROG_ACTIVE_CHANNEL_K) {
			if (DCC_Packet_Pump_next(&prog_pump) == DCC_ZERO) {
				DCC_TIMER_PROG_INSTANCE->ARR  = DCC_ZERO_ARR;
				DCC_TIMER_PROG_CCR_K = DCC_ZERO_CCR;
#ifdef DCC_TIMER_PROG_CCR_L
				DCC_TIMER_PROG_CCR_L = DCC_ZERO_CCR;
#endif
			} else {
				DCC_TIMER_PROG_INSTANCE->ARR  = DCC_ONE_ARR;
				DCC_TIMER_PROG_CCR_K = DCC_ONE_CCR;
#ifdef DCC_TIMER_MAIN_CCR_L
				DCC_TIMER_PROG_CCR_L = DCC_ONE_CCR;
#endif
			}
		}
	}
}

void HAL_UART_TxCpltCallback(UART_HandleTypeDef *huart){
	if(huart->Instance == USART3) {
		osThreadFlagsSet(commandTaskHandle, COMMAND_FLAG_TRANSMIT_OK);
	}
}

void HAL_UART_RxCpltCallback(UART_HandleTypeDef *huart){
	if(huart->Instance == USART3) {
		osThreadFlagsSet(commandTaskHandle, COMMAND_FLAG_RECEIVE_OK);
	}
}

void HAL_UART_ErrorCallback(UART_HandleTypeDef *huart) {
	if(huart->Instance == USART3) {
		osThreadFlagsSet(commandTaskHandle, COMMAND_FLAG_ERROR);
	}
}

void HAL_GPIO_EXTI_Callback(uint16_t GPIO_Pin)
{
	if(GPIO_Pin == USER_Btn_Pin)
	{
		if(button_debounce == 1) {
			HAL_TIM_Base_Start_IT(&htim6);
			HAL_GPIO_WritePin(LED_Red_GPIO_Port, LED_Red_Pin, GPIO_PIN_SET);
			button_debounce = 0;
		}
		else {
			__NOP();
		}
	}
}

void HAL_ADC_ConvCpltCallback(ADC_HandleTypeDef* hadc)
{
	if(hadc->Instance == ADC1)
	{
		osThreadFlagsSet(dccTaskHandle, DCC_FLAG_ADC_DATA);
	}
}
//void HAL_ADC_ConvHalfCpltCallback(ADC_HandleTypeDef* hadc)
//{
//	if(hadc->Instance == ADC1)
//	{
//		osThreadFlagsSet(dccTaskHandle, DCC_FLAG_ADC_DATA);
//	}
//}
void HAL_ADC_ErrorCallback(ADC_HandleTypeDef* hadc)
{
	if(hadc->Instance == ADC1)
	{
		osThreadFlagsSet(dccTaskHandle, DCC_FLAG_ADC_ERROR);
	}
}

/* USER CODE END Application */

/************************ (C) COPYRIGHT STMicroelectronics *****END OF FILE****/
